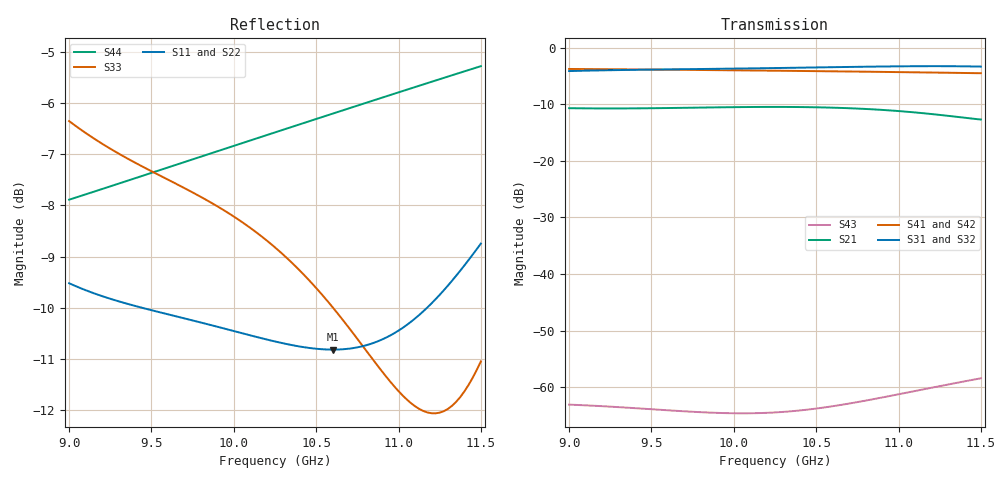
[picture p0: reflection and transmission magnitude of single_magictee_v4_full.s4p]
! Generated from PyAEDT SolutionData; AEDT ExportNetworkData workaround
# GHz S MA R 50
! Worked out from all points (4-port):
!   101 points, 9 GHz to 11.5 GHz, reference 50 ohm
!   strongest paths, dB at 9 GHz, 9.625 GHz, 10.25 GHz, 10.88 GHz, 11.5 GHz:
!     S31: -4.2, -3.8, -3.6, -3.4, -3.4
!     S32: -4.2, -3.9, -3.6, -3.4, -3.4
!     S41: -3.8, -3.9, -4.1, -4.3, -4.5
!     S42: -3.8, -3.9, -4.1, -4.3, -4.5
!     S21: -10.7, -10.7, -10.5, -11.0, -12.7
!     S43: -63.1, -64.1, -64.5, -62.0, -58.4
!   lowest |S11| = -10.8 dB at 10.6 GHz (marker M1), VSWR 1.81, Z = 27.7 - j0.432 ohm
!   |S11| at or under -10 dB: 9.442 GHz to 11.17 GHz (1.731 GHz wide, 16.8 % of centre)
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9  0.3341 -7.7  0.2915 -87.5  0.6201 -23.5  0.6472 45.5
   0.2915 -87.5  0.3352 -7.6  0.6197 -23.5  0.647 -134.4
   0.6201 -23.5  0.6197 -23.5  0.4811 177.3  0.000701 68.5
   0.6472 45.5  0.647 -134.4  0.000701 68.5  0.4031 -126.6
9.4  0.3175 -54.1  0.2904 -142.1  0.6358 -94.4  0.6408 0.3
     0.2904 -142.1  0.3186 -54.1  0.6354 -94.3  0.6407 -179.6
     0.6358 -94.4  0.6354 -94.3  0.4382 86.8  0.0006524 -2.5
     0.6408 0.3  0.6407 -179.6  0.0006524 -2.5  0.423 -168.6
9.875  0.3037 -106.7  0.296 156.7  0.6485 -174.9  0.6322 -51.5
       0.296 156.7  0.3046 -106.7  0.6481 -174.9  0.6321 128.6
       0.6485 -174.9  0.6481 -174.9  0.3994 -15.7  0.0005946 -79.0
       0.6322 -51.5  0.6321 128.6  0.0005946 -79.0  0.4481 142.8
10.225  0.2938 -143.0  0.2989 113.0  0.6585 127.3  0.6251 -88.5
        0.2989 113.0  0.2946 -143.0  0.6582 127.4  0.625 91.6
        0.6585 127.3  0.6582 127.4  0.365 -89.7  0.0005955 -130.4
        0.6251 -88.5  0.625 91.6  0.0005955 -130.4  0.4676 107.7
10.6  0.2878 -178.6  0.2944 67.2  0.6709 66.1  0.6168 -127.5
      0.2944 67.2  0.2886 -178.7  0.6706 66.1  0.6167 52.6
      0.6709 66.1  0.6706 66.1  0.3166 -171.2  0.0006787 174.3
      0.6168 -127.5  0.6167 52.6  0.0006787 174.3  0.4892 70.4
11.05  0.3042 142.4  0.2712 15.1  0.6834 -7.9  0.6057 -173.5
       0.2712 15.1  0.3051 142.3  0.6832 -7.9  0.6055 6.6
       0.6834 -7.9  0.6832 -7.9  0.2573 78.8  0.0008944 99.5
       0.6057 -173.5  0.6055 6.6  0.0008944 99.5  0.5162 26.0
11.5  0.3653 101.5  0.2313 -28.6  0.6789 -83.7  0.5934 141.0
      0.2313 -28.6  0.3666 101.2  0.6786 -83.7  0.593 -39.0
      0.6789 -83.7  0.6786 -83.7  0.2803 -49.6  0.001198 13.4
      0.5934 141.0  0.593 -39.0  0.001198 13.4  0.5443 -18.3
